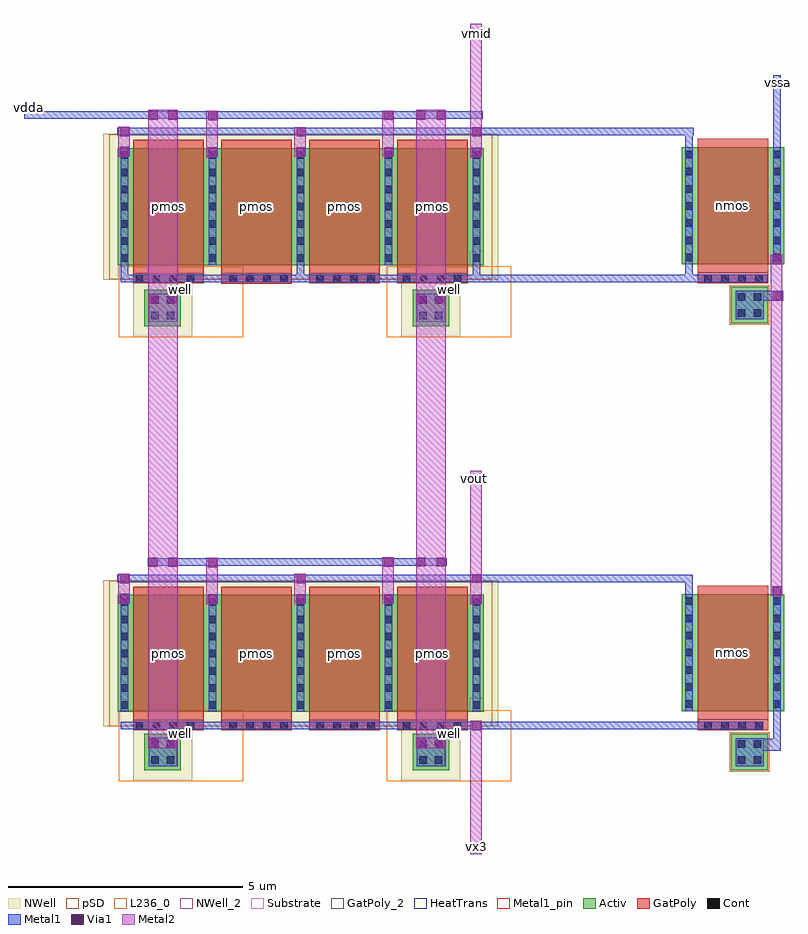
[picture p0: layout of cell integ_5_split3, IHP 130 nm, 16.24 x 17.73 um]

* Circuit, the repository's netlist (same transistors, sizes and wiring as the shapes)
** sch_path: /foss/designs/integ_5_split3.sch
.subckt integ_5_split3 vdda vx3 vout VSS vmid
*.PININFO vssa:B vdda:B vmid:B vout:B vx3:B
M3 vout vx3 vdda vdda sg13_lv_pmos L=1.5u W=10u ng=4 m=1
M4 vout vx3 VSS VSS sg13_lv_nmos L=1.5u W=2.5u ng=1 m=1
M7 vmid vmid vdda vdda sg13_lv_pmos L=1.5u W=10u ng=4 m=1
M8 vmid vmid VSS VSS sg13_lv_nmos L=1.5u W=2.5u ng=1 m=1
.ends
.end

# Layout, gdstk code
from math import pi, radians
import gdstk
lib = gdstk.Library(unit=1e-6, precision=1e-09)
def R(c, l, rs):  # rectangles x0, y0, x1, y1
    for r in rs: c.add(gdstk.rectangle(r[:2], r[2:], *l))
def A(c, l, x, y, w, h, nx, ny, dx, dy):  # array of equal rectangles
    R(c, l, [(x+i*dx, y+j*dy, x+i*dx+w, y+j*dy+h) for i in range(nx) for j in range(ny)])
def P(c, l, *ps):  # polygons
    for p in ps: c.add(gdstk.Polygon(p, *l))
Activ = (1, 0)
GatPoly = (5, 0)
GatPoly_2 = (5, 2)
Cont = (6, 0)
Metal1 = (8, 0)
Metal1_pin = (8, 2)
Metal2 = (10, 0)
pSD = (14, 0)
Via1 = (19, 0)
NWell = (31, 0)
NWell_2 = (31, 2)
Substrate = (40, 0)
HeatTrans = (51, 0)
L236_0 = (236, 0)

ptap = lib.new_cell('ptap')
R(ptap, Activ, [(0,0,0.78,0.78)])
R(ptap, Cont, [(0.14,0.14,0.3,0.3), (0.48,0.14,0.64,0.3), (0.14,0.48,0.3,0.64), (0.48,0.48,0.64,0.64)])
R(ptap, Metal1, [(0.09,0.09,0.69,0.69)])
R(ptap, Metal1_pin, [(0.09,0.09,0.69,0.69)])
R(ptap, pSD, [(-0.03,-0.03,0.81,0.81)])

integ_5_split3 = lib.new_cell('integ_5_split3')
A(integ_5_split3, Activ, 0.029, 0.01, 0.3, 0.3, 5, 2, 1.88, 9.546)
R(integ_5_split3, Activ, [(0.605,-1.235,1.385,-0.455), (6.331,-1.235,7.111,-0.455), (0.029,0.01,7.849,2.51), (12.087,0.026,12.387,0.326), (12.087,0.026,14.267,2.526), (13.967,0.026,14.267,0.326), (0.605,8.255,1.385,9.035), (6.331,8.255,7.111,9.035), (0.029,9.556,7.849,12.056), (12.087,9.572,12.387,9.872), (12.087,9.572,14.267,12.072), (13.967,9.572,14.267,9.872)])
R(integ_5_split3, GatPoly, [(2.249,-0.385,3.749,2.69), (4.129,-0.382,5.629,2.69), (0.369,-0.38,1.869,2.69), (6.009,-0.379,7.509,2.69), (12.427,-0.378,13.927,2.706), (0.369,-0.17,1.869,2.69), (0.369,-0.17,1.869,2.69), (2.249,9.161,3.749,12.236), (4.129,9.164,5.629,12.236), (0.369,9.166,1.869,12.236), (6.009,9.167,7.509,12.236), (12.427,9.168,13.927,12.252), (0.369,9.376,1.869,12.236), (0.369,9.376,1.869,12.236)])
R(integ_5_split3, GatPoly_2, [(12.427,-0.154,13.927,2.706), (12.427,-0.154,13.927,2.706), (12.427,9.392,13.927,12.252), (12.427,9.392,13.927,12.252)])
A(integ_5_split3, Cont, 0.099, 0.08, 0.16, 0.16, 5, 3, 1.88, 0.365)
A(integ_5_split3, Cont, 12.157, 0.096, 0.16, 0.16, 1, 3, 0, 0.365)
A(integ_5_split3, Cont, 14.037, 0.096, 0.16, 0.16, 1, 3, 0, 0.365)
A(integ_5_split3, Cont, 0.099, 1.18, 0.16, 0.16, 5, 3, 1.88, 0.365)
A(integ_5_split3, Cont, 12.157, 1.196, 0.16, 0.16, 1, 3, 0, 0.365)
A(integ_5_split3, Cont, 14.037, 1.196, 0.16, 0.16, 1, 3, 0, 0.365)
A(integ_5_split3, Cont, 0.099, 2.28, 0.16, 0.16, 5, 2, 1.88, 7.346)
A(integ_5_split3, Cont, 12.157, 9.642, 0.16, 0.16, 1, 3, 0, 0.365)
A(integ_5_split3, Cont, 14.037, 9.642, 0.16, 0.16, 1, 3, 0, 0.365)
A(integ_5_split3, Cont, 0.099, 9.991, 0.16, 0.16, 5, 2, 1.88, 0.365)
A(integ_5_split3, Cont, 0.099, 10.726, 0.16, 0.16, 5, 3, 1.88, 0.365)
A(integ_5_split3, Cont, 12.157, 10.742, 0.16, 0.16, 1, 3, 0, 0.365)
A(integ_5_split3, Cont, 14.037, 10.742, 0.16, 0.16, 1, 3, 0, 0.365)
A(integ_5_split3, Cont, 0.099, 11.826, 0.16, 0.16, 5, 1, 1.88, 0)
R(integ_5_split3, Cont, [(0.745,-1.095,0.905,-0.935), (1.085,-1.095,1.245,-0.935), (6.471,-1.095,6.631,-0.935), (6.811,-1.095,6.971,-0.935), (0.745,-0.755,0.905,-0.595), (1.085,-0.755,1.245,-0.595), (6.471,-0.755,6.631,-0.595), (6.811,-0.755,6.971,-0.595), (12.562,-0.36,12.722,-0.2), (12.927,-0.36,13.087,-0.2), (13.287,-0.36,13.447,-0.2), (13.652,-0.36,13.812,-0.2), (0.413,-0.358,0.573,-0.198), (0.778,-0.358,0.938,-0.198), (1.138,-0.358,1.298,-0.198), (1.503,-0.358,1.663,-0.198), (2.414,-0.358,2.574,-0.198), (2.779,-0.358,2.939,-0.198), (3.139,-0.358,3.299,-0.198), (3.504,-0.358,3.664,-0.198), (4.275,-0.358,4.435,-0.198), (4.64,-0.358,4.8,-0.198), (5,-0.358,5.16,-0.198), (5.365,-0.358,5.525,-0.198), (6.126,-0.358,6.286,-0.198), (6.491,-0.358,6.651,-0.198), (6.851,-0.358,7.011,-0.198), (7.216,-0.358,7.376,-0.198), (12.157,2.296,12.317,2.456), (14.037,2.296,14.197,2.456), (0.745,8.395,0.905,8.555), (1.085,8.395,1.245,8.555), (6.471,8.395,6.631,8.555), (6.811,8.395,6.971,8.555), (0.745,8.735,0.905,8.895), (1.085,8.735,1.245,8.895), (6.471,8.735,6.631,8.895), (6.811,8.735,6.971,8.895), (12.562,9.186,12.722,9.346), (12.927,9.186,13.087,9.346), (13.287,9.186,13.447,9.346), (13.652,9.186,13.812,9.346), (0.413,9.188,0.573,9.348), (0.778,9.188,0.938,9.348), (1.138,9.188,1.298,9.348), (1.503,9.188,1.663,9.348), (2.414,9.188,2.574,9.348), (2.779,9.188,2.939,9.348), (3.139,9.188,3.299,9.348), (3.504,9.188,3.664,9.348), (4.275,9.188,4.435,9.348), (4.64,9.188,4.8,9.348), (5,9.188,5.16,9.348), (5.365,9.188,5.525,9.348), (6.126,9.188,6.286,9.348), (6.491,9.188,6.651,9.348), (6.851,9.188,7.011,9.348), (7.216,9.188,7.376,9.348), (12.157,11.842,12.317,12.002), (14.037,11.842,14.197,12.002)])
A(integ_5_split3, Metal1, 1.979, 0.01, 0.16, 2.5, 4, 1, 1.88, 0)
R(integ_5_split3, Metal1, [(0.695,-1.145,1.317,-0.545), (6.421,-1.145,7.041,-0.545), (0.103,-0.358,13.826,-0.198), (0.099,0.01,0.259,2.51), (0.099,0.01,0.259,2.51), (0.099,0.01,0.259,2.51), (1.979,0.01,2.139,2.51), (1.979,0.01,2.139,2.51), (12.157,0.026,12.317,2.941), (0.021,2.785,12.317,2.945), (0.67,3.134,7.059,3.294), (0.695,8.345,1.317,8.945), (6.421,8.345,7.041,8.945), (13.827,8.798,14.246,9.004), (0.099,9.188,0.259,12.056), (0.103,9.188,13.919,9.348), (7.619,9.189,7.779,12.056), (12.157,9.196,12.317,12.487), (3.859,9.207,4.019,12.056), (0.099,9.556,0.259,12.056), (0.099,9.556,0.259,12.056), (1.979,9.556,2.139,12.056), (1.979,9.556,2.139,12.056), (1.979,9.556,2.139,12.056), (5.739,9.556,5.899,12.056), (14.037,9.572,14.197,13.61), (0.021,12.331,12.338,12.491), (-1.969,12.68,7.831,12.84)])
P(integ_5_split3, Metal1, [(13.811,-0.819),(13.811,-0.565),(14.037,-0.565),(14.037,2.683),(14.197,2.683),(14.197,-0.819)])
R(integ_5_split3, Metal1_pin, [(0.695,-1.145,1.295,-0.545), (6.421,-1.145,7.021,-0.545), (12.157,0.026,12.317,2.526), (12.157,0.026,12.317,2.526), (14.037,0.026,14.197,2.526), (14.037,0.026,14.197,2.526), (0.695,8.345,1.295,8.945), (6.421,8.345,7.021,8.945), (12.157,9.572,12.317,12.072), (12.157,9.572,12.317,12.072), (14.037,9.572,14.197,12.072), (14.037,9.572,14.197,12.072)])
R(integ_5_split3, Metal2, [(7.561,-3.026,7.81,-0.179), (0.689,-0.769,1.314,12.875), (6.407,-0.763,7.045,12.872), (1.924,2.314,2.172,3.306), (7.561,2.316,7.81,5.163), (3.807,2.32,4.055,2.964), (5.687,2.32,5.935,3.313), (0.044,2.325,0.292,2.968), (13.981,2.494,14.23,9.774), (1.924,11.86,2.172,12.852), (7.561,11.862,7.81,14.709), (3.807,11.866,4.055,12.505), (5.687,11.866,5.935,12.859), (0.044,11.871,0.292,12.507)])
R(integ_5_split3, pSD, [(-0.151,-0.29,8.029,2.81), (-0.151,9.256,8.029,12.356)])
R(integ_5_split3, Via1, [(0.698,-0.75,0.888,-0.56), (1.12,-0.75,1.31,-0.56), (6.422,-0.744,6.612,-0.554), (6.847,-0.744,7.037,-0.554), (7.598,-0.378,7.788,-0.188), (7.598,2.325,7.788,2.515), (1.961,2.333,2.151,2.523), (3.844,2.339,4.034,2.529), (5.724,2.339,5.914,2.529), (0.081,2.344,0.271,2.534), (14.018,2.503,14.208,2.693), (3.855,2.76,4.045,2.95), (0.092,2.765,0.282,2.955), (7.609,2.767,7.799,2.957), (1.972,3.107,2.162,3.297), (5.718,3.111,5.908,3.301), (0.695,3.114,0.885,3.304), (1.117,3.114,1.307,3.304), (6.412,3.118,6.602,3.308), (6.845,3.118,7.035,3.308), (0.698,8.74,0.888,8.93), (1.12,8.74,1.31,8.93), (6.422,8.746,6.612,8.936), (6.847,8.746,7.037,8.936), (14.02,8.808,14.21,8.998), (14.02,9.579,14.21,9.769), (7.598,11.871,7.788,12.061), (1.961,11.879,2.151,12.069), (3.844,11.885,4.034,12.075), (5.724,11.885,5.914,12.075), (0.081,11.89,0.271,12.08), (3.855,12.306,4.045,12.496), (0.092,12.311,0.282,12.501), (7.609,12.313,7.799,12.503), (1.972,12.653,2.162,12.843), (5.718,12.657,5.908,12.847), (0.695,12.662,0.885,12.852), (1.117,12.662,1.307,12.852), (6.412,12.663,6.602,12.853), (6.845,12.663,7.035,12.853)])
R(integ_5_split3, NWell, [(0.365,-1.475,1.625,-0.215), (6.091,-1.475,7.351,-0.215), (-0.281,-0.3,8.159,2.82), (0.365,8.015,1.625,9.275), (6.091,8.015,7.351,9.275), (-0.281,9.246,8.159,12.366)])
R(integ_5_split3, NWell_2, [(0.605,-1.235,1.385,-0.455), (6.331,-1.235,7.111,-0.455)])
R(integ_5_split3, Substrate, [(7.549,0.01,7.849,0.31), (7.549,0.01,7.849,0.31), (7.549,9.556,7.849,9.856), (7.549,9.556,7.849,9.856)])
A(integ_5_split3, HeatTrans, 0.369, -0.17, 1.5, 2.86, 4, 2, 1.88, 9.546)
R(integ_5_split3, HeatTrans, [(12.427,-0.154,13.927,2.706), (12.427,9.392,13.927,12.252)])
R(integ_5_split3, L236_0, [(0.051,-1.475,2.719,0.045), (5.777,-1.475,8.445,0.045), (0.051,8.015,2.719,9.535), (5.777,8.015,8.445,9.535)])
integ_5_split3.add(gdstk.Reference(ptap, (13.922,-0.457), rotation=pi))
integ_5_split3.add(gdstk.Reference(ptap, (13.922,9.094), rotation=pi))
integ_5_split3.add(gdstk.Label('pmos', (1.119,1.26), layer=51, texttype=0))
integ_5_split3.add(gdstk.Label('pmos', (2.999,1.26), layer=51, texttype=0))
integ_5_split3.add(gdstk.Label('pmos', (4.879,1.26), layer=51, texttype=0))
integ_5_split3.add(gdstk.Label('pmos', (6.759,1.26), layer=51, texttype=0))
integ_5_split3.add(gdstk.Label('nmos', (13.177,1.276), layer=51, texttype=0))
integ_5_split3.add(gdstk.Label('pmos', (1.119,10.806), layer=51, texttype=0))
integ_5_split3.add(gdstk.Label('pmos', (2.999,10.806), layer=51, texttype=0))
integ_5_split3.add(gdstk.Label('pmos', (4.879,10.806), layer=51, texttype=0))
integ_5_split3.add(gdstk.Label('pmos', (6.759,10.806), layer=51, texttype=0))
integ_5_split3.add(gdstk.Label('nmos', (13.177,10.822), layer=51, texttype=0))
integ_5_split3.add(gdstk.Label('pmos', (1.119,1.26), layer=63, texttype=0))
integ_5_split3.add(gdstk.Label('pmos', (1.119,10.806), layer=63, texttype=0))
integ_5_split3.add(gdstk.Label('well', (7.111,-0.455), layer=63, texttype=0))
integ_5_split3.add(gdstk.Label('well', (1.385,-0.455), layer=63, texttype=0))
integ_5_split3.add(gdstk.Label('well', (1.385,9.035), layer=63, texttype=0))
integ_5_split3.add(gdstk.Label('well', (7.111,9.035), layer=63, texttype=0))
integ_5_split3.add(gdstk.Label('[@instanceName]', (7.111,-0.715), layer=236, texttype=1))
integ_5_split3.add(gdstk.Label('[@instanceName]', (1.385,-0.715), layer=236, texttype=1))
integ_5_split3.add(gdstk.Label('[@instanceName]', (1.385,8.775), layer=236, texttype=1))
integ_5_split3.add(gdstk.Label('[@instanceName]', (7.111,8.775), layer=236, texttype=1))
integ_5_split3.add(gdstk.Label('vdda', (-1.87,12.917), layer=8, texttype=25))
integ_5_split3.add(gdstk.Label('vmid', (7.697,14.494), layer=8, texttype=25))
integ_5_split3.add(gdstk.Label('vout', (7.664,4.995), layer=8, texttype=25))
integ_5_split3.add(gdstk.Label('vx3', (7.708,-2.854), layer=8, texttype=25))
integ_5_split3.add(gdstk.Label('vssa', (14.13,13.468), layer=8, texttype=25))

lib.write_gds('integ_5_split3.gds')
